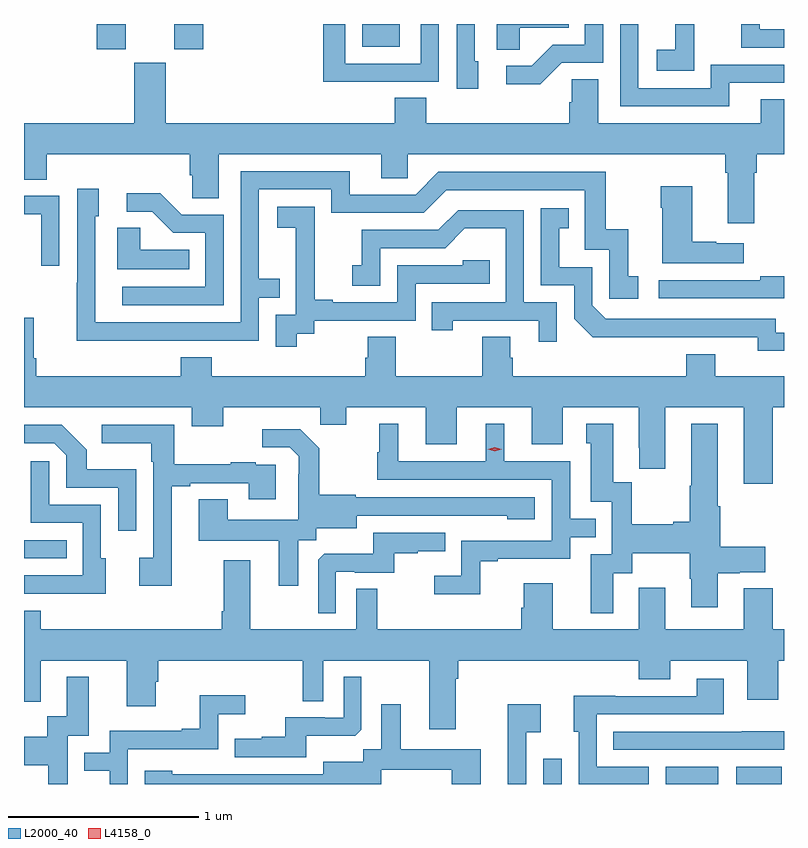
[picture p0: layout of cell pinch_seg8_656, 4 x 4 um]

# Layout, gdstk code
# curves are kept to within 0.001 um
import gdstk
lib = gdstk.Library(unit=1e-6, precision=1e-09)
def R(c, l, rs):  # rectangles x0, y0, x1, y1
    for r in rs: c.add(gdstk.rectangle(r[:2], r[2:], *l))
def P(c, l, *ps):  # polygons
    for p in ps: c.add(gdstk.Polygon(p, *l))
L2000_40 = (2000, 40)
L4158_0 = (4158, 0)

pinch_seg8_656 = lib.new_cell('pinch_seg8_656')
R(pinch_seg8_656, L2000_40, [(351.42,1106.526,351.516,1106.659), (352.064,1106.526,352.342,1106.617), (352.436,1106.526,352.675,1106.617), (348.687,1107.714,348.911,1107.81), (349.07,1110.393,349.222,1110.526), (349.478,1110.393,349.631,1110.526), (350.468,1110.407,350.665,1110.526)])
P(pinch_seg8_656, L2000_40, [(351.297,1110.506),(351.554,1110.506),(351.554,1110.526),(351.176,1110.526),(351.176,1110.391),(351.297,1110.391)],
  [(352.687,1110.498),(352.56,1110.498),(352.56,1110.526),(352.462,1110.526),(352.462,1110.402),(352.687,1110.402)],
  [(350.555,1110.222),(350.871,1110.222),(350.871,1110.526),(350.775,1110.526),(350.775,1110.318),(350.379,1110.318),(350.379,1110.526),(350.263,1110.526),(350.263,1110.221),(350.555,1110.221)],
  [(351.516,1110.321),(351.735,1110.321),(351.735,1110.526),(351.639,1110.526),(351.639,1110.417),(351.47,1110.417),(351.359,1110.306),(351.225,1110.306),(351.225,1110.209),(351.403,1110.209)],
  [(352.215,1110.487),(352.214,1110.487),(352.214,1110.526),(352.115,1110.526),(352.115,1110.391),(352.017,1110.391),(352.017,1110.281),(352.215,1110.281)],
  [(351.079,1110.33),(351.06,1110.33),(351.06,1110.526),(350.964,1110.526),(350.964,1110.186),(351.079,1110.186)],
  [(352.399,1110.216),(352.687,1110.216),(352.687,1110.312),(352.302,1110.312),(352.302,1110.189),(351.921,1110.189),(351.921,1110.526),(351.825,1110.526),(351.825,1110.093),(352.399,1110.093)],
  [(351.709,1110.236),(351.57,1110.236),(351.57,1110.113),(351.557,1110.113),(351.557,1110.004),(350.804,1110.004),(350.804,1110.137),(350.639,1110.137),(350.639,1110.004),(349.432,1110.004),(349.432,1110.321),(349.268,1110.321),(349.268,1110.004),(348.687,1110.004),(348.687,1109.707),(348.806,1109.707),(348.806,1109.84),(349.559,1109.84),(349.559,1109.731),(349.572,1109.731),(349.572,1109.608),(349.711,1109.608),(349.711,1109.84),(350.567,1109.84),(350.567,1109.713),(350.706,1109.713),(350.706,1109.84),(352.379,1109.84),(352.379,1109.744),(352.391,1109.744),(352.391,1109.478),(352.531,1109.478),(352.531,1109.744),(352.544,1109.744),(352.544,1109.84),(352.687,1109.84),(352.687,1110.131),(352.565,1110.131),(352.565,1110.004),(351.709,1110.004)],
  [(349.427,1108.86),(349.923,1108.86),(349.923,1109.085),(350.033,1109.085),(350.033,1109.186),(349.923,1109.186),(349.923,1109.655),(350.304,1109.655),(350.304,1109.532),(350.79,1109.532),(350.91,1109.652),(351.639,1109.652),(351.639,1109.337),(351.768,1109.337),(351.768,1109.079),(351.919,1109.079),(351.919,1109.199),(351.866,1109.199),(351.866,1109.446),(351.748,1109.446),(351.748,1109.748),(350.868,1109.748),(350.748,1109.628),(350.401,1109.628),(350.401,1109.751),(349.827,1109.751),(349.827,1108.956),(349.062,1108.956),(349.062,1109.514),(349.081,1109.514),(349.081,1109.659),(348.966,1109.659),(348.966,1109.165),(348.964,1109.165),(348.964,1108.859)],
  [(352.474,1109.371),(352.331,1109.371),(352.331,1109.381),(352.204,1109.381),(352.204,1109.671),(352.039,1109.671),(352.039,1109.558),(352.046,1109.558),(352.046,1109.267),(352.474,1109.267)],
  [(349.737,1109.523),(349.518,1109.523),(349.405,1109.636),(349.227,1109.636),(349.227,1109.538),(349.361,1109.538),(349.472,1109.427),(349.641,1109.427),(349.641,1109.142),(349.203,1109.142),(349.203,1109.046),(349.737,1109.046)],
  [(348.873,1109.622),(348.687,1109.622),(348.687,1109.526),(348.777,1109.526),(348.777,1109.253),(348.873,1109.253)],
  [(350.122,1108.897),(350.214,1108.897),(350.214,1108.965),(350.748,1108.965),(350.748,1109.16),(351.137,1109.16),(351.137,1109.283),(350.997,1109.283),(350.997,1109.256),(350.652,1109.256),(350.652,1109.061),(350.311,1109.061),(350.311,1109.074),(350.216,1109.074),(350.216,1109.357),(350.217,1109.357),(350.217,1109.563),(350.019,1109.563),(350.019,1109.453),(350.117,1109.453),(350.117,1109.225),(350.118,1109.225),(350.118,1108.995),(350.013,1108.995),(350.013,1108.827),(350.122,1108.827)],
  [(352.687,1108.902),(352.644,1108.902),(352.644,1108.974),(351.75,1108.974),(351.678,1109.046),(351.678,1109.247),(351.505,1109.247),(351.505,1109.451),(351.554,1109.451),(351.554,1109.557),(351.408,1109.557),(351.408,1109.151),(351.582,1109.151),(351.582,1108.974),(351.68,1108.877),(352.548,1108.878),(352.548,1108.805),(352.687,1108.805)],
  [(351.492,1109.061),(351.318,1109.061),(351.318,1109.547),(350.972,1109.547),(350.867,1109.442),(350.464,1109.442),(350.464,1109.257),(350.415,1109.257),(350.415,1109.148),(350.562,1109.148),(350.562,1109.346),(350.904,1109.346),(351.008,1109.45),(351.222,1109.45),(351.222,1109.061),(350.833,1109.061),(350.833,1108.914),(350.944,1108.914),(350.944,1108.965),(351.395,1108.965),(351.395,1108.854),(351.492,1108.854)],
  [(349.556,1109.338),(349.299,1109.338),(349.299,1109.453),(349.178,1109.453),(349.178,1109.234),(349.556,1109.234)],
  [(352.687,1109.198),(352.561,1109.198),(352.561,1109.178),(352.029,1109.178),(352.029,1109.082),(352.687,1109.082)],
  [(352.628,1108.508),(352.687,1108.508),(352.687,1108.672),(352.324,1108.672),(352.324,1108.789),(352.172,1108.789),(352.172,1108.672),(351.26,1108.672),(351.26,1108.77),(351.247,1108.77),(351.247,1108.88),(351.1,1108.88),(351.1,1108.672),(350.643,1108.672),(350.643,1108.88),(350.495,1108.88),(350.495,1108.77),(350.483,1108.77),(350.483,1108.672),(349.676,1108.672),(349.676,1108.771),(349.511,1108.771),(349.511,1108.672),(348.752,1108.672),(348.752,1108.768),(348.739,1108.768),(348.739,1108.981),(348.687,1108.981),(348.687,1108.508),(349.571,1108.508),(349.571,1108.409),(349.735,1108.409),(349.735,1108.508),(350.245,1108.508),(350.245,1108.418),(350.383,1108.418),(350.383,1108.508),(350.801,1108.508),(350.801,1108.314),(350.965,1108.314),(350.965,1108.508),(351.359,1108.508),(351.359,1108.314),(351.523,1108.314),(351.523,1108.508),(351.923,1108.508),(351.923,1108.297),(351.926,1108.297),(351.926,1108.185),(352.063,1108.185),(352.063,1108.508),(352.475,1108.508),(352.475,1108.107),(352.628,1108.107)],
  [(351.087,1107.699),(351.181,1107.699),(351.181,1107.711),(351.561,1107.711),(351.561,1107.825),(351.695,1107.825),(351.695,1107.921),(351.561,1107.921),(351.561,1108.224),(351.214,1108.224),(351.214,1108.423),(351.116,1108.423),(351.116,1108.224),(350.656,1108.224),(350.656,1108.423),(350.558,1108.423),(350.558,1108.272),(350.547,1108.272),(350.547,1108.128),(351.465,1108.128),(351.465,1107.807),(350.988,1107.807),(350.988,1107.622),(350.847,1107.622),(350.847,1107.524),(351.087,1107.524)],
  [(351.787,1107.634),(351.889,1107.634),(351.889,1107.74),(352.192,1107.74),(352.192,1107.606),(352.199,1107.606),(352.199,1107.456),(352.339,1107.456),(352.339,1107.634),(352.455,1107.634),(352.455,1107.641),(352.588,1107.641),(352.588,1107.776),(352.352,1107.776),(352.352,1107.988),(352.339,1107.988),(352.339,1108.423),(352.199,1108.423),(352.199,1108.097),(352.192,1108.097),(352.192,1107.905),(352.103,1107.905),(352.103,1107.892),(351.885,1107.892),(351.885,1108.115),(351.787,1108.115),(351.787,1108.423),(351.647,1108.423),(351.647,1108.32),(351.671,1108.32),(351.671,1108.011),(351.78,1108.011),(351.78,1107.735),(351.671,1107.735),(351.671,1107.426),(351.787,1107.426)],
  [(349.465,1108.092),(349.561,1108.092),(349.561,1108.11),(349.871,1108.11),(349.871,1108.026),(350.011,1108.026),(350.011,1108.206),(349.907,1108.206),(349.907,1108.219),(349.775,1108.219),(349.775,1108.208),(349.477,1108.208),(349.477,1108.416),(349.095,1108.416),(349.095,1108.319),(349.356,1108.319),(349.356,1108.223),(349.368,1108.223),(349.368,1107.718),(349.293,1107.718),(349.293,1107.57),(349.465,1107.57)],
  [(349.278,1108.183),(349.017,1108.183),(349.017,1108.286),(348.886,1108.416),(348.687,1108.416),(348.687,1108.32),(348.846,1108.32),(348.909,1108.257),(348.909,1108.086),(349.182,1108.086),(349.182,1107.858),(349.278,1107.858)],
  [(350.131,1107.808),(350.226,1107.808),(350.226,1107.872),(350.437,1107.872),(350.437,1107.939),(351.231,1107.938),(351.231,1107.92),(351.376,1107.92),(351.376,1108.035),(350.433,1108.035),(350.433,1108.048),(350.241,1108.048),(350.241,1108.293),(350.141,1108.393),(349.941,1108.393),(349.941,1108.299),(350.085,1108.299),(350.132,1108.252),(350.132,1108.157),(350.13,1108.157),(350.13,1107.916),(349.759,1107.916),(349.759,1108.025),(349.607,1108.025),(349.607,1107.806),(350.027,1107.806),(350.027,1107.57),(350.131,1107.57)],
  [(349.117,1107.714),(349.092,1107.714),(349.092,1107.996),(348.819,1107.996),(348.819,1108.225),(348.723,1108.225),(348.723,1107.9),(348.996,1107.9),(348.996,1107.624),(348.687,1107.624),(348.687,1107.528),(348.899,1107.528),(348.899,1107.527),(349.117,1107.527)],
  [(350.328,1107.642),(350.428,1107.642),(350.428,1107.639),(350.636,1107.639),(350.636,1107.741),(350.759,1107.741),(350.759,1107.752),(350.903,1107.752),(350.903,1107.849),(350.526,1107.849),(350.526,1107.737),(350.267,1107.737),(350.235,1107.705),(350.235,1107.425),(350.328,1107.425)],
  [(350.959,1107.08),(350.972,1107.08),(350.972,1107.176),(351.923,1107.176),(351.923,1107.077),(352.087,1107.077),(352.087,1107.176),(352.493,1107.176),(352.493,1106.97),(352.657,1106.97),(352.657,1107.176),(352.687,1107.176),(352.687,1107.34),(352.628,1107.34),(352.628,1107.556),(352.475,1107.556),(352.475,1107.34),(352.063,1107.34),(352.063,1107.559),(351.923,1107.559),(351.923,1107.34),(351.469,1107.34),(351.469,1107.583),(351.317,1107.583),(351.317,1107.453),(351.305,1107.453),(351.305,1107.34),(350.545,1107.34),(350.545,1107.554),(350.436,1107.554),(350.436,1107.34),(349.879,1107.34),(349.879,1107.703),(349.739,1107.703),(349.739,1107.436),(349.727,1107.436),(349.727,1107.34),(348.775,1107.34),(348.775,1107.439),(348.687,1107.439),(348.687,1106.958),(348.775,1106.958),(348.775,1107.176),(349.229,1107.176),(349.229,1106.934),(349.381,1106.934),(349.381,1107.063),(349.394,1107.063),(349.394,1107.176),(350.154,1107.176),(350.154,1106.962),(350.262,1106.962),(350.262,1107.176),(350.819,1107.176),(350.819,1106.814),(350.959,1106.814)],
  [(350.173,1106.78),(350.431,1106.78),(350.463,1106.811),(350.463,1107.091),(350.37,1107.091),(350.37,1106.874),(350.27,1106.874),(350.27,1106.877),(350.063,1106.877),(350.063,1106.776),(349.939,1106.776),(349.939,1106.764),(349.795,1106.764),(349.795,1106.667),(350.173,1106.667)],
  [(348.918,1106.781),(349.027,1106.781),(349.027,1107.091),(348.911,1107.091),(348.911,1106.882),(348.81,1106.882),(348.81,1106.776),(348.687,1106.776),(348.687,1106.624),(348.815,1106.624),(348.815,1106.526),(348.918,1106.526)],
  [(351.975,1106.616),(351.702,1106.616),(351.702,1106.892),(352.369,1106.892),(352.369,1107.079),(352.229,1107.079),(352.229,1106.988),(351.799,1106.988),(351.799,1106.99),(351.581,1106.99),(351.581,1106.802),(351.606,1106.802),(351.606,1106.526),(351.975,1106.526)],
  [(349.233,1106.709),(349.71,1106.709),(349.71,1106.894),(349.852,1106.894),(349.852,1106.993),(349.612,1106.993),(349.612,1106.818),(349.517,1106.818),(349.517,1106.805),(349.137,1106.805),(349.137,1106.691),(349.003,1106.691),(349.003,1106.595),(349.137,1106.595),(349.137,1106.526),(349.233,1106.526)],
  [(350.568,1106.6),(350.939,1106.6),(350.939,1106.526),(351.091,1106.526),(351.091,1106.71),(350.671,1106.71),(350.671,1106.947),(350.567,1106.947),(350.567,1106.708),(350.472,1106.708),(350.472,1106.644),(350.261,1106.644),(350.261,1106.577),(349.703,1106.577),(349.703,1106.578),(349.467,1106.578),(349.467,1106.596),(349.323,1106.596),(349.323,1106.526),(350.568,1106.526)],
  [(351.33,1106.798),(351.406,1106.798),(351.406,1106.947),(351.233,1106.947),(351.233,1106.526),(351.33,1106.526)],
  [(352.687,1106.803),(352.465,1106.803),(352.465,1106.802),(351.787,1106.802),(351.787,1106.706),(352.687,1106.706)])
P(pinch_seg8_656, L4158_0, [(351.165,1108.278),(351.129,1108.287),(351.129,1108.288),(351.129,1108.288),(351.165,1108.298),(351.201,1108.288),(351.201,1108.288),(351.201,1108.287)])

lib.write_gds('pinch_seg8_656.gds')
